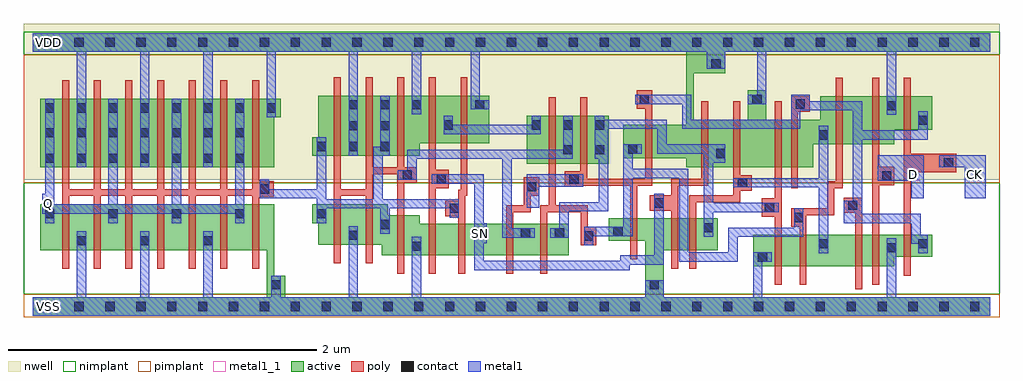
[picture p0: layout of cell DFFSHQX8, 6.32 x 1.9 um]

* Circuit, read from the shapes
.subckt DFFSHQX8 CK D Q SN VDD VSS
M1 VSS n1 Q VSS nfet w=0.295u l=0.045u m=7
M2 VSS n2 n1 VSS nfet w=0.26u l=0.045u m=3
M3 n3 SN VSS VSS nfet w=0.205u l=0.045u
M4 n4 n1 n3 VSS nfet w=0.205u l=0.045u
M5 n2 n5 n4 VSS nfet w=0.205u l=0.045u
M6 n6 n7 n2 VSS nfet w=0.205u l=0.045u
M7 VSS n5 n7 VSS nfet w=0.145u l=0.045u
M8 n8 SN VSS VSS nfet w=0.205u l=0.045u
M9 n6 n9 n8 VSS nfet w=0.205u l=0.045u
M10 n10 n6 VSS VSS nfet w=0.205u l=0.045u
M11 n9 n7 n10 VSS nfet w=0.205u l=0.045u
M12 n11 n5 n9 VSS nfet w=0.205u l=0.045u
M13 VSS D n11 VSS nfet w=0.205u l=0.045u
M14 n5 CK VSS VSS nfet w=0.145u l=0.045u
M15 VDD n1 Q VDD pfet w=0.445u l=0.045u m=7
M16 VDD n2 n1 VDD pfet w=0.39u l=0.045u m=3
M17 n12 SN VDD VDD pfet w=0.31u l=0.045u
M18 VDD n1 n12 VDD pfet w=0.31u l=0.045u
M19 n2 n7 n12 VDD pfet w=0.31u l=0.045u
M20 n6 n5 n2 VDD pfet w=0.31u l=0.045u
M21 VDD n5 n7 VDD pfet w=0.215u l=0.045u
M22 n6 SN VDD VDD pfet w=0.31u l=0.045u
M23 VDD n9 n6 VDD pfet w=0.31u l=0.045u
M24 n13 n6 VDD VDD pfet w=0.31u l=0.045u
M25 n9 n5 n13 VDD pfet w=0.31u l=0.045u
M26 n14 n7 n9 VDD pfet w=0.31u l=0.045u
M27 VDD D n14 VDD pfet w=0.31u l=0.045u
M28 n5 CK VDD VDD pfet w=0.215u l=0.045u
.ends

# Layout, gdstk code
import gdstk
lib = gdstk.Library(unit=1e-6, precision=5e-10)
def R(c, l, rs):  # rectangles x0, y0, x1, y1
    for r in rs: c.add(gdstk.rectangle(r[:2], r[2:], *l))
def A(c, l, x, y, w, h, nx, ny, dx, dy):  # array of equal rectangles
    R(c, l, [(x+i*dx, y+j*dy, x+i*dx+w, y+j*dy+h) for i in range(nx) for j in range(ny)])
def P(c, l, *ps):  # polygons
    for p in ps: c.add(gdstk.Polygon(p, *l))
active = (1, 0)
nwell = (2, 0)
poly = (3, 0)
nimplant = (4, 0)
pimplant = (5, 0)
contact = (6, 0)
metal1 = (7, 0)
metal1_1 = (7, 1)

dffshqx8 = lib.new_cell('DFFSHQX8')
R(dffshqx8, active, [(3.2,0.925,3.73,1.235)])
P(dffshqx8, active, [(0,1.77),(6.2,1.77),(6.2,1.65),(4.485,1.65),(4.485,1.51),(4.28,1.51),(4.28,1.21),(4.63,1.21),(4.63,1.4),(4.75,1.4),(4.75,1.21),(5.1,1.21),(5.1,1.36),(5.825,1.36),(5.825,1.145),(5.58,1.145),(5.58,1.05),(5.055,1.05),(5.055,0.9),(4.23,0.9),(4.23,0.96),(3.825,0.96),(3.825,1.175),(4.23,1.175),(4.23,1.65),(0,1.65)],
  [(0.05,1.345),(1.605,1.345),(1.605,1.225),(1.565,1.225),(1.565,0.9),(0.05,0.9)],
  [(1.85,1.365),(2.955,1.365),(2.955,1.055),(2.505,1.055),(2.505,0.975),(1.81,0.975),(1.81,1.095),(1.85,1.095)],
  [(0.05,0.66),(1.565,0.66),(1.565,0.2),(1.635,0.2),(1.635,0.06),(3.965,0.06),(3.965,0.425),(3.73,0.425),(3.73,0.57),(4.435,0.57),(4.435,0.365),(4.085,0.365),(4.085,0.06),(6.2,0.06),(6.2,-0.06),(0,-0.06),(0,0.06),(1.515,0.06),(1.515,0.365),(0.05,0.365)],
  [(1.81,0.66),(2.3,0.66),(2.3,0.59),(2.505,0.59),(2.505,0.535),(3.47,0.535),(3.47,0.33),(2.26,0.33),(2.26,0.4),(1.85,0.4),(1.85,0.54),(1.81,0.54)],
  [(4.665,0.465),(5.825,0.465),(5.825,0.32),(5.58,0.32),(5.58,0.26),(4.665,0.26)])
R(dffshqx8, nwell, [(-0.06,0.82,6.26,1.83)])
P(dffshqx8, poly, [(0.19,1.465),(0.235,1.465),(0.235,0.76),(0.395,0.76),(0.395,1.465),(0.44,1.465),(0.44,0.76),(0.6,0.76),(0.6,1.465),(0.645,1.465),(0.645,0.76),(0.805,0.76),(0.805,1.465),(0.85,1.465),(0.85,0.76),(1.01,0.76),(1.01,1.465),(1.055,1.465),(1.055,0.76),(1.215,0.76),(1.215,1.465),(1.26,1.465),(1.26,0.76),(1.42,0.76),(1.42,1.465),(1.465,1.465),(1.465,0.81),(1.56,0.81),(1.56,0.71),(1.465,0.71),(1.465,0.245),(1.42,0.245),(1.42,0.715),(1.26,0.715),(1.26,0.245),(1.215,0.245),(1.215,0.715),(1.055,0.715),(1.055,0.245),(1.01,0.245),(1.01,0.715),(0.85,0.715),(0.85,0.245),(0.805,0.245),(0.805,0.715),(0.645,0.715),(0.645,0.245),(0.6,0.245),(0.6,0.715),(0.44,0.715),(0.44,0.245),(0.395,0.245),(0.395,0.715),(0.235,0.715),(0.235,0.245),(0.19,0.245)],
  [(1.95,1.485),(1.995,1.485),(1.995,0.76),(2.155,0.76),(2.155,1.485),(2.2,1.485),(2.2,0.9),(2.36,0.9),(2.36,1.485),(2.405,1.485),(2.405,0.9),(2.485,0.9),(2.485,0.8),(2.405,0.8),(2.405,0.21),(2.36,0.21),(2.36,0.855),(2.2,0.855),(2.2,0.28),(2.155,0.28),(2.155,0.715),(1.995,0.715),(1.995,0.28),(1.95,0.28)],
  [(2.565,1.485),(2.61,1.485),(2.61,0.885),(2.695,0.885),(2.695,0.765),(2.61,0.765),(2.61,0.21),(2.565,0.21)],
  [(2.77,1.485),(2.815,1.485),(2.815,0.715),(2.8,0.715),(2.8,0.21),(2.755,0.21),(2.755,0.585),(2.67,0.585),(2.67,0.685),(2.755,0.685),(2.755,0.755),(2.77,0.755)],
  [(3.34,1.355),(3.385,1.355),(3.385,0.655),(3.595,0.655),(3.595,0.515),(3.65,0.515),(3.65,0.395),(3.55,0.395),(3.55,0.61),(3.33,0.61),(3.33,0.21),(3.285,0.21),(3.285,0.655),(3.34,0.655)],
  [(3.545,1.355),(3.59,1.355),(3.59,0.825),(3.965,0.825),(3.965,1.28),(3.91,1.28),(3.91,1.4),(4.01,1.4),(4.01,0.78),(3.915,0.78),(3.915,0.305),(3.87,0.305),(3.87,0.78),(3.565,0.78),(3.565,0.775),(3.445,0.775),(3.445,0.875),(3.545,0.875)],
  [(4.91,1.36),(5.03,1.36),(5.03,1.26),(4.955,1.26),(4.955,0.765),(4.91,0.765)],
  [(4.33,1.33),(4.375,1.33),(4.375,0.78),(4.18,0.78),(4.18,0.245),(4.135,0.245),(4.135,0.62),(3.995,0.62),(3.995,0.72),(4.135,0.72),(4.135,0.825),(4.33,0.825)],
  [(4.535,1.33),(4.58,1.33),(4.58,0.85),(4.655,0.85),(4.655,0.75),(4.58,0.75),(4.58,0.675),(4.295,0.675),(4.295,0.245),(4.25,0.245),(4.25,0.72),(4.535,0.72)],
  [(4.805,1.33),(4.85,1.33),(4.85,0.14),(4.805,0.14),(4.805,0.58),(4.72,0.58),(4.72,0.7),(4.805,0.7)],
  [(5.2,1.48),(5.245,1.48),(5.245,0.765),(5.19,0.765),(5.19,0.59),(5.01,0.59),(5.01,0.14),(4.965,0.14),(4.965,0.515),(4.91,0.515),(4.91,0.635),(5.145,0.635),(5.145,0.81),(5.2,0.81)],
  [(5.435,1.48),(5.48,1.48),(5.48,0.905),(5.58,0.905),(5.58,0.785),(5.48,0.785),(5.48,0.14),(5.435,0.14)],
  [(5.64,1.48),(5.685,1.48),(5.685,0.99),(5.98,0.99),(5.98,0.87),(5.685,0.87),(5.685,0.2),(5.64,0.2)],
  [(3.18,0.835),(3.28,0.835),(3.28,0.715),(3.225,0.715),(3.225,0.61),(3.11,0.61),(3.11,0.21),(3.065,0.21),(3.065,0.655),(3.18,0.655)],
  [(5.25,0.705),(5.37,0.705),(5.37,0.11),(5.325,0.11),(5.325,0.605),(5.25,0.605)])
R(dffshqx8, nimplant, [(-0.06,0.08,6.26,0.8), (-0.06,1.63,6.26,1.78)])
R(dffshqx8, pimplant, [(-0.06,-0.07,6.26,0.08), (-0.06,0.8,6.26,1.63)])
A(dffshqx8, contact, 0.07, -0.03, 0.06, 0.06, 31, 2, 0.2, 1.71)
A(dffshqx8, contact, 0.285, 0.395, 0.06, 0.06, 3, 1, 0.41, 0)
A(dffshqx8, contact, 0.08, 0.57, 0.06, 0.06, 4, 1, 0.41, 0)
A(dffshqx8, contact, 0.08, 0.93, 0.06, 0.06, 7, 2, 0.205, 0.165)
A(dffshqx8, contact, 1.84, 1.005, 0.06, 0.06, 3, 1, 0.205, 0)
A(dffshqx8, contact, 3.23, 1.145, 0.06, 0.06, 3, 1, 0.205, 0)
A(dffshqx8, contact, 0.08, 1.255, 0.06, 0.06, 8, 1, 0.205, 0)
A(dffshqx8, contact, 2.045, 1.275, 0.06, 0.06, 3, 1, 0.205, 0)
R(dffshqx8, contact, [(1.545,0.11,1.605,0.17), (3.995,0.11,4.055,0.17), (4.695,0.29,4.755,0.35), (5.53,0.35,5.59,0.41), (2.455,0.36,2.515,0.42), (5.09,0.375,5.15,0.435), (5.735,0.375,5.795,0.435), (3.57,0.425,3.63,0.485), (2.045,0.43,2.105,0.49), (3.16,0.445,3.22,0.505), (3.38,0.445,3.44,0.505), (3.76,0.455,3.82,0.515), (4.345,0.48,4.405,0.54), (2.25,0.5,2.31,0.56), (4.93,0.545,4.99,0.605), (1.84,0.57,1.9,0.63), (2.7,0.605,2.76,0.665), (4.74,0.61,4.8,0.67), (5.28,0.625,5.34,0.685), (4.025,0.64,4.085,0.7), (1.47,0.73,1.53,0.79), (3.2,0.745,3.26,0.805), (4.565,0.77,4.625,0.83), (2.615,0.795,2.675,0.855), (3.475,0.795,3.535,0.855), (5.5,0.815,5.56,0.875), (2.395,0.82,2.455,0.88), (5.9,0.9,5.96,0.96), (4.425,0.96,4.485,1.02), (3.435,0.985,3.495,1.045), (3.64,0.985,3.7,1.045), (3.855,0.99,3.915,1.05), (5.09,1.08,5.15,1.14), (2.045,1.14,2.105,1.2), (2.25,1.14,2.31,1.2), (2.66,1.145,2.72,1.205), (5.735,1.175,5.795,1.235), (5.53,1.27,5.59,1.33), (2.865,1.275,2.925,1.335), (4.94,1.28,5,1.34), (3.93,1.31,3.99,1.37), (4.66,1.31,4.72,1.37), (4.395,1.54,4.455,1.6)])
P(dffshqx8, metal1, [(0,1.77),(6.2,1.77),(6.2,1.65),(5.59,1.65),(5.59,1.24),(5.53,1.24),(5.53,1.65),(4.75,1.65),(4.75,1.31),(4.63,1.31),(4.63,1.37),(4.69,1.37),(4.69,1.65),(4.485,1.65),(4.485,1.54),(4.365,1.54),(4.365,1.65),(2.895,1.65),(2.895,1.335),(2.955,1.335),(2.955,1.275),(2.835,1.275),(2.835,1.65),(2.515,1.65),(2.515,1.245),(2.455,1.245),(2.455,1.65),(2.105,1.65),(2.105,0.975),(2.045,0.975),(2.045,1.65),(1.575,1.65),(1.575,1.225),(1.515,1.225),(1.515,1.65),(1.165,1.65),(1.165,0.9),(1.105,0.9),(1.105,1.65),(0.755,1.65),(0.755,0.9),(0.695,0.9),(0.695,1.65),(0.345,1.65),(0.345,0.9),(0.285,0.9),(0.285,1.65),(0,1.65)],
  [(0.08,1.345),(0.14,1.345),(0.14,0.66),(0.49,0.66),(0.49,1.345),(0.55,1.345),(0.55,0.66),(0.9,0.66),(0.9,1.345),(0.96,1.345),(0.96,0.66),(1.31,0.66),(1.31,1.345),(1.37,1.345),(1.37,0.54),(1.31,0.54),(1.31,0.6),(0.96,0.6),(0.96,0.54),(0.9,0.54),(0.9,0.6),(0.55,0.6),(0.55,0.54),(0.49,0.54),(0.49,0.6),(0.14,0.6),(0.14,0.54),(0.08,0.54),(0.08,0.6),(0.06,0.6),(0.06,0.73),(0.08,0.73)],
  [(1.47,0.82),(1.53,0.82),(1.53,0.76),(1.84,0.76),(1.84,1.095),(1.9,1.095),(1.9,0.695),(2.205,0.695),(2.205,1.035),(2.25,1.035),(2.25,1.365),(2.31,1.365),(2.31,0.975),(2.265,0.975),(2.265,0.695),(2.76,0.695),(2.76,0.575),(2.7,0.575),(2.7,0.635),(2.31,0.635),(2.31,0.47),(2.25,0.47),(2.25,0.635),(1.9,0.635),(1.9,0.54),(1.84,0.54),(1.84,0.7),(1.47,0.7)],
  [(2.66,1.235),(2.72,1.235),(2.72,1.175),(3.23,1.175),(3.23,1.235),(3.29,1.235),(3.29,1.115),(2.66,1.115)],
  [(3.435,1.235),(3.495,1.235),(3.495,0.955),(3.1,0.955),(3.1,0.505),(3.25,0.505),(3.25,0.445),(3.04,0.445),(3.04,0.955),(2.485,0.955),(2.485,0.82),(2.365,0.82),(2.365,0.88),(2.425,0.88),(2.425,1.015),(3.435,1.015)],
  [(3.64,1.235),(3.7,1.235),(3.7,1.21),(4.105,1.21),(4.105,1.05),(4.485,1.05),(4.485,0.93),(4.405,0.93),(4.405,0.67),(4.83,0.67),(4.83,0.61),(4.405,0.61),(4.405,0.45),(4.345,0.45),(4.345,0.99),(4.045,0.99),(4.045,1.15),(3.725,1.15),(3.725,0.615),(3.47,0.615),(3.47,0.445),(3.35,0.445),(3.35,0.505),(3.41,0.505),(3.41,0.675),(3.665,0.675),(3.665,0.955),(3.64,0.955)],
  [(3.9,1.37),(4.265,1.37),(4.265,1.21),(4.91,1.21),(4.91,1.37),(5.03,1.37),(5.03,1.33),(5.37,1.33),(5.37,1.14),(5.735,1.14),(5.735,1.265),(5.795,1.265),(5.795,1.08),(5.37,1.08),(5.37,0.6),(5.75,0.6),(5.75,0.465),(5.795,0.465),(5.795,0.345),(5.735,0.345),(5.735,0.405),(5.69,0.405),(5.69,0.54),(5.25,0.54),(5.25,0.685),(5.31,0.685),(5.31,1.27),(4.97,1.27),(4.97,1.15),(4.205,1.15),(4.205,1.31),(3.9,1.31)],
  [(2.585,0.855),(2.92,0.855),(2.92,0.54),(2.94,0.54),(2.94,0.41),(2.92,0.41),(2.92,0.295),(3.805,0.295),(3.805,0.33),(4.025,0.33),(4.025,0.73),(4.085,0.73),(4.085,0.27),(3.865,0.27),(3.865,0.235),(2.86,0.235),(2.86,0.795),(2.585,0.795)],
  [(0.285,0.485),(0.345,0.485),(0.345,0.06),(0.695,0.06),(0.695,0.485),(0.755,0.485),(0.755,0.06),(1.105,0.06),(1.105,0.485),(1.165,0.485),(1.165,0.06),(1.545,0.06),(1.545,0.2),(1.605,0.2),(1.605,0.06),(2.045,0.06),(2.045,0.52),(2.105,0.52),(2.105,0.06),(2.455,0.06),(2.455,0.45),(2.515,0.45),(2.515,0.06),(3.965,0.06),(3.965,0.17),(4.085,0.17),(4.085,0.06),(4.665,0.06),(4.665,0.35),(4.785,0.35),(4.785,0.29),(4.725,0.29),(4.725,0.06),(5.53,0.06),(5.53,0.44),(5.59,0.44),(5.59,0.06),(6.2,0.06),(6.2,-0.06),(0,-0.06),(0,0.06),(0.285,0.06)],
  [(3.2,0.855),(3.565,0.855),(3.565,0.775),(3.28,0.775),(3.28,0.64),(3.2,0.64)],
  [(3.825,1.05),(3.945,1.05),(3.945,0.99),(3.885,0.99),(3.885,0.89),(4.245,0.89),(4.245,0.35),(4.505,0.35),(4.505,0.51),(4.93,0.51),(4.93,0.635),(4.99,0.635),(4.99,0.45),(4.565,0.45),(4.565,0.29),(4.185,0.29),(4.185,0.83),(3.885,0.83),(3.885,0.455),(3.63,0.455),(3.63,0.395),(3.57,0.395),(3.57,0.515),(3.825,0.515)],
  [(5.09,1.17),(5.15,1.17),(5.15,0.345),(5.09,0.345),(5.09,0.77),(4.535,0.77),(4.535,0.83),(5.09,0.83)],
  [(5.47,0.98),(5.77,0.98),(5.77,0.7),(5.69,0.7),(5.69,0.815),(5.47,0.815)],
  [(5.87,0.98),(6.17,0.98),(6.17,0.7),(6.035,0.7),(6.035,0.9),(5.87,0.9)])
R(dffshqx8, metal1_1, [(0.06,-0.04,0.14,0.04), (2.86,0.435,2.94,0.515), (0.06,0.625,0.14,0.705), (5.66,0.815,5.74,0.895), (6.06,0.815,6.14,0.895), (0.06,1.67,0.14,1.75)])
dffshqx8.add(gdstk.Label('CK', (6.1,0.855), layer=7, texttype=1))
dffshqx8.add(gdstk.Label('D', (5.7,0.855), layer=7, texttype=1))
dffshqx8.add(gdstk.Label('SN', (2.9,0.475), layer=7, texttype=1))
dffshqx8.add(gdstk.Label('Q', (0.1,0.665), layer=7, texttype=1))
dffshqx8.add(gdstk.Label('VDD', (0.1,1.71), layer=7, texttype=1))
dffshqx8.add(gdstk.Label('VSS', (0.1,0), layer=7, texttype=1))
dffshqx8.add(gdstk.Label('DFFSHQX8', (0,0), layer=63, texttype=0))

lib.write_gds('DFFSHQX8.gds')
